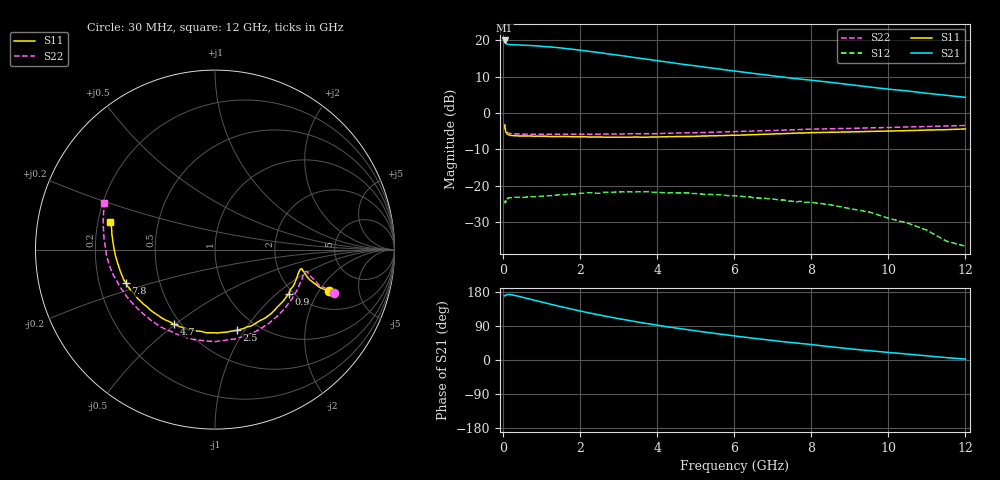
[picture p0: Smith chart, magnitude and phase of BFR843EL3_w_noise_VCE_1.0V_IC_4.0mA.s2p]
! Infineon Technologies  Discrete & RF Semiconductors
! BFR843EL3
! VCE =  1.0 V,  IC =  4.0 mA
! Common Emitter S-Parameters:  Aug 2013
# GHz  S  MA  R  50
!  f  S11  S21  S12  S22
! GHz  MAG  ANG  MAG  ANG  MAG  ANG  MAG  ANG
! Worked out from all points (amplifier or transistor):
!   103 points, 30 MHz to 12 GHz, reference 50 ohm
!   highest |S21| = 19.9 dB at 30 MHz (marker M1)
!   |S21| within 3 dB of that: start of sweep to 2.225 GHz
!   unconditionally stable (mu >= 1): 6.892 GHz to end of sweep
!   at 400 MHz: K = 0.99, MSG = 20.9 dB, |S12| = -23.2 dB
!   at 3.7 GHz: K = 0.74, MSG = 18.2 dB, |S12| = -21.7 dB
!   at 12 GHz: K = 6.97, MAG = 9.0 dB, |S12| = -36.7 dB
!   lowest NFmin = 0.92 dB at 900 MHz
!   S11 on the Smith chart (normalised r, x): 30 MHz: 2.90, -2.50; 900 MHz: 1.89, -1.21; 2.5 GHz: 0.80, -0.92; 4.7 GHz: 0.46, -0.49; 7.8 GHz: 0.32, -0.16; 12 GHz: 0.25, +0.12
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0.03  0.6781 -20.1  9.91 169.4  0.0571 35.5  0.7065 -19.8
0.04  0.6177 -19.8  9.514 170.0  0.0585 29.8  0.647 -19.3
0.06  0.5521 -17.6  9.078 171.3  0.0588 21.7  0.5845 -17.3
0.1  0.5126 -14.3  8.8 172.8  0.0661 12.4  0.5406 -14.6
0.15  0.4989 -12.6  8.68 173.0  0.0685 8.0  0.525 -13.5
0.4  0.4824 -16.4  8.602 167.9  0.0693 4.9  0.5131 -18.8
0.9  0.4786 -30.9  8.305 155.4  0.0714 3.6  0.5072 -36.3
1.2  0.4735 -40.0  8.091 147.8  0.0726 3.0  0.5081 -46.8
1.5  0.4742 -48.6  7.804 140.6  0.0758 2.5  0.5075 -56.9
1.8  0.4692 -56.9  7.5 133.6  0.0764 1.5  0.5092 -66.4
2.1  0.4706 -65.1  7.153 127.0  0.0789 0.2  0.5088 -75.7
2.5  0.4658 -74.9  6.725 118.8  0.0787 -2.8  0.509 -86.6
3.3  0.4638 -92.9  5.871 103.5  0.0822 -7.4  0.5149 -105.7
4.1  0.4689 -108.0  5.127 90.2  0.0802 -13.3  0.5212 -121.2
4.7  0.4738 -118.7  4.625 81.2  0.0793 -16.4  0.5308 -131.6
5.3  0.4824 -127.6  4.206 72.7  0.0756 -20.7  0.5392 -140.4
6.1  0.4945 -138.8  3.707 62.3  0.0721 -24.6  0.5555 -151.0
6.9  0.5106 -149.0  3.29 52.6  0.0656 -28.8  0.571 -160.4
7.8  0.5303 -159.3  2.88 42.8  0.0589 -33.0  0.5917 -170.1
8.5  0.5412 -167.1  2.63 34.9  0.0544 -38.1  0.6056 -177.1
10.5  0.5704 175.6  2.002 15.6  0.0305 -41.8  0.6404 166.7
12  0.6022 165.2  1.637 2.3  0.0147 -4.9  0.6708 157.0
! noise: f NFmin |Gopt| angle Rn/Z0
0.45  0.93  0.24  7  0.2
0.9  0.92  0.24  22  0.19
1.5  0.96  0.25  37  0.17
1.9  0.98  0.25  41  0.17
2.4  1.01  0.26  53  0.16
3.5  1.07  0.26  74  0.15
5.5  1.16  0.29  111  0.12
8  1.28  0.36  152  0.08
10  1.37  0.43  202  0.05
